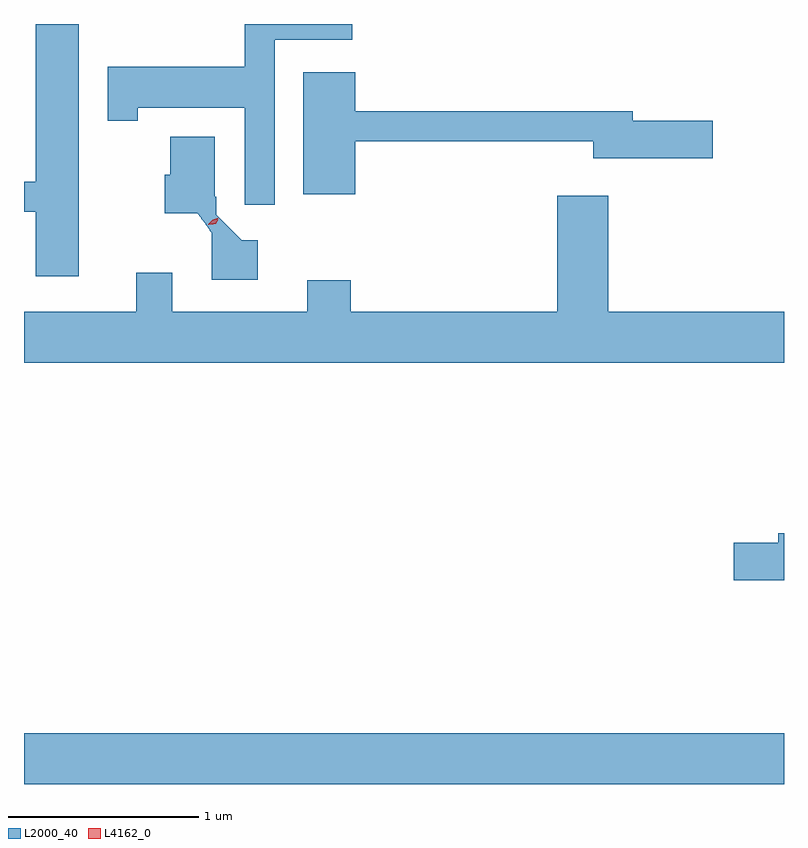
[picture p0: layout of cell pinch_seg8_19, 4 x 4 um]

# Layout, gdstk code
import gdstk
lib = gdstk.Library(unit=1e-6, precision=1e-09)
def R(c, l, rs):  # rectangles x0, y0, x1, y1
    for r in rs: c.add(gdstk.rectangle(r[:2], r[2:], *l))
def P(c, l, *ps):  # polygons
    for p in ps: c.add(gdstk.Polygon(p, *l))
L2000_40 = (2000, 40)
L4162_0 = (4162, 0)

pinch_seg8_19 = lib.new_cell('pinch_seg8_19')
R(pinch_seg8_19, L2000_40, [(1710.77,1920.778,1714.77,1921.044)])
P(pinch_seg8_19, L2000_40, [(1711.059,1924.778),(1710.831,1924.778),(1710.831,1923.949),(1710.77,1923.949),(1710.77,1923.791),(1710.831,1923.791),(1710.831,1923.451),(1711.059,1923.451)],
  [(1712.089,1924.696),(1712.498,1924.696),(1712.498,1924.778),(1711.931,1924.778),(1711.931,1924.554),(1711.211,1924.554),(1711.211,1924.268),(1711.369,1924.268),(1711.369,1924.336),(1711.931,1924.336),(1711.931,1923.828),(1712.089,1923.828)],
  [(1712.514,1924.161),(1713.766,1924.161),(1713.766,1924.071),(1714.394,1924.071),(1714.394,1924.269),(1713.974,1924.269),(1713.974,1924.319),(1712.514,1924.319),(1712.514,1924.524),(1712.241,1924.524),(1712.241,1923.881),(1712.514,1923.881)],
  [(1711.999,1923.639),(1711.917,1923.639),(1711.781,1923.775),(1711.781,1923.87),(1711.774,1923.87),(1711.774,1924.184),(1711.541,1924.184),(1711.541,1923.984),(1711.511,1923.984),(1711.511,1923.782),(1711.683,1923.782),(1711.693,1923.772),(1711.693,1923.768),(1711.704,1923.757),(1711.704,1923.752),(1711.715,1923.741),(1711.715,1923.737),(1711.726,1923.726),(1711.726,1923.722),(1711.737,1923.711),(1711.737,1923.707),(1711.748,1923.696),(1711.748,1923.691),(1711.759,1923.68),(1711.759,1923.431),(1711.999,1923.431)],
  [(1714.77,1923.264),(1713.844,1923.264),(1713.844,1923.874),(1713.576,1923.874),(1713.576,1923.264),(1712.489,1923.264),(1712.489,1923.429),(1712.261,1923.429),(1712.261,1923.264),(1711.549,1923.264),(1711.549,1923.469),(1711.361,1923.469),(1711.361,1923.264),(1710.77,1923.264),(1710.77,1922.996),(1714.77,1922.996)],
  [(1714.77,1922.099),(1714.741,1922.099),(1714.741,1922.049),(1714.506,1922.049),(1714.506,1921.851),(1714.77,1921.851)])
P(pinch_seg8_19, L4162_0, [(1711.741,1923.722),(1711.741,1923.723),(1711.763,1923.748),(1711.796,1923.758),(1711.796,1923.758),(1711.796,1923.757),(1711.774,1923.731),(1711.742,1923.722)],
  [(1711.751,1923.722),(1711.752,1923.722),(1711.767,1923.743),(1711.792,1923.748),(1711.793,1923.748),(1711.793,1923.747),(1711.778,1923.726),(1711.752,1923.722)])

lib.write_gds('pinch_seg8_19.gds')
